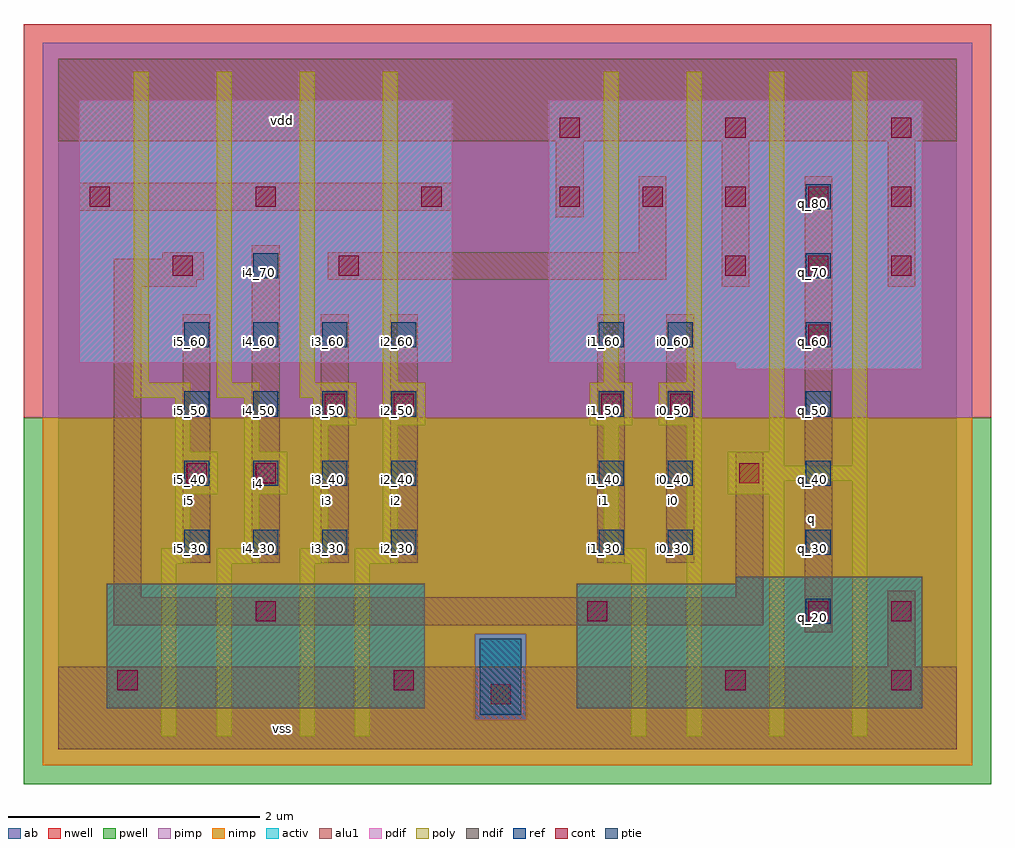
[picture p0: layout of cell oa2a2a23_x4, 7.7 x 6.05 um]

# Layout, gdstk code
import gdstk
lib = gdstk.Library(unit=1e-6, precision=2.5e-09)
def R(c, l, rs):  # rectangles x0, y0, x1, y1
    for r in rs: c.add(gdstk.rectangle(r[:2], r[2:], *l))
def A(c, l, x, y, w, h, nx, ny, dx, dy):  # array of equal rectangles
    R(c, l, [(x+i*dx, y+j*dy, x+i*dx+w, y+j*dy+h) for i in range(nx) for j in range(ny)])
ndif = (3, 0)
pdif = (4, 0)
ptie = (6, 0)
ref = (24, 0)
cont = (25, 0)
pwell = (41, 0)
nwell = (42, 0)
activ = (43, 0)
pimp = (44, 0)
nimp = (45, 0)
poly = (46, 0)
alu1 = (49, 0)
ab = (63, 0)

oa2a2a23_x4 = lib.new_cell('oa2a2a23_x4')
R(oa2a2a23_x4, ndif, [(0.385,0.33,2.915,1.32), (4.125,0.33,6.875,1.32), (5.39,1.32,6.875,1.375)])
R(oa2a2a23_x4, pdif, [(5.39,3.025,6.875,3.08), (0.165,3.08,3.135,5.17), (3.905,3.08,6.875,5.17)])
R(oa2a2a23_x4, ptie, [(3.355,0.275,3.685,0.88)])
A(oa2a2a23_x4, ref, 5.95, 1, 0.2, 0.2, 1, 7, 0, 0.55)
A(oa2a2a23_x4, ref, 1, 1.55, 0.2, 0.2, 4, 4, 0.55, 0.55)
A(oa2a2a23_x4, ref, 4.3, 1.55, 0.2, 0.2, 1, 4, 0, 0.55)
A(oa2a2a23_x4, ref, 4.85, 1.55, 0.2, 0.2, 1, 4, 0, 0.55)
R(oa2a2a23_x4, ref, [(1.55,3.75,1.75,3.95)])
A(oa2a2a23_x4, cont, 5.31, 3.77, 0.16, 0.16, 3, 1, 0.66, 0)
A(oa2a2a23_x4, cont, 0.25, 4.32, 0.16, 0.16, 3, 1, 1.32, 0)
A(oa2a2a23_x4, cont, 3.99, 4.32, 0.16, 0.16, 5, 1, 0.66, 0)
A(oa2a2a23_x4, cont, 3.99, 4.87, 0.16, 0.16, 3, 1, 1.32, 0)
R(oa2a2a23_x4, cont, [(3.44,0.36,3.6,0.52), (0.47,0.47,0.63,0.63), (2.67,0.47,2.83,0.63), (5.31,0.47,5.47,0.63), (6.63,0.47,6.79,0.63), (1.57,1.02,1.73,1.18), (4.21,1.02,4.37,1.18), (5.97,1.02,6.13,1.18), (6.63,1.02,6.79,1.18), (1.02,2.12,1.18,2.28), (1.57,2.12,1.73,2.28), (5.42,2.12,5.58,2.28), (2.12,2.67,2.28,2.83), (2.67,2.67,2.83,2.83), (4.32,2.67,4.48,2.83), (4.87,2.67,5.03,2.83), (5.97,3.22,6.13,3.38), (0.91,3.77,1.07,3.93), (2.23,3.77,2.39,3.93)])
R(oa2a2a23_x4, pwell, [(-0.275,-0.275,7.425,2.64)])
R(oa2a2a23_x4, nwell, [(-0.275,2.64,7.425,5.775)])
R(oa2a2a23_x4, activ, [(3.355,0.275,3.685,0.88), (0.385,0.33,2.915,1.32), (4.125,0.33,6.875,1.32), (5.39,1.32,6.875,1.375), (5.39,3.025,6.875,3.08), (0.165,3.08,3.135,5.17), (3.905,3.08,6.875,5.17)])
R(oa2a2a23_x4, pimp, [(3.315,0.235,3.725,0.92), (-0.125,2.64,7.275,5.625)])
R(oa2a2a23_x4, nimp, [(-0.125,-0.125,7.275,0.235), (-0.125,0.235,3.315,0.92), (3.725,0.235,7.275,0.92), (-0.125,0.92,7.275,2.64)])
A(oa2a2a23_x4, poly, 0.6, 2.92, 0.12, 2.475, 4, 1, 0.66, 0)
R(oa2a2a23_x4, poly, [(0.82,0.105,0.94,1.48), (1.26,0.105,1.38,1.48), (1.92,0.105,2.04,1.48), (2.36,0.105,2.48,1.48), (4.56,0.105,4.68,1.48), (5,0.105,5.12,2.58), (5.66,0.105,5.78,2.03), (6.32,0.105,6.44,2.14), (0.82,1.48,1.05,1.6), (1.26,1.48,1.6,1.6), (1.92,1.48,2.15,1.6), (2.36,1.48,2.7,1.6), (4.34,1.48,4.68,1.6), (0.93,1.6,1.05,2.03), (1.48,1.6,1.6,2.03), (2.03,1.6,2.15,2.58), (2.58,1.6,2.7,2.58), (4.34,1.6,4.46,2.58), (0.93,2.03,1.27,2.37), (1.48,2.03,1.82,2.37), (5.33,2.03,5.78,2.14), (5.33,2.14,6.44,2.26), (5.33,2.26,5.78,2.37), (6.32,2.26,6.44,5.395), (0.93,2.37,1.05,2.8), (1.48,2.37,1.6,2.8), (5.66,2.37,5.78,5.395), (2.03,2.58,2.37,2.8), (2.58,2.58,2.92,2.92), (4.23,2.58,4.57,2.92), (4.78,2.58,5.12,2.92), (0.6,2.8,1.05,2.92), (1.26,2.8,1.6,2.92), (1.92,2.8,2.37,2.92), (4.34,2.92,4.46,5.395), (5,2.92,5.12,5.395)])
R(oa2a2a23_x4, alu1, [(0,0,7.15,0.66), (6.6,0.66,6.82,1.265), (5.94,0.935,6.16,4.565), (0.44,0.99,5.61,1.21), (0.44,1.21,0.66,3.685), (5.39,1.21,5.61,2.365), (0.99,1.485,1.21,3.465), (1.54,1.485,1.76,4.015), (2.09,1.485,2.31,3.465), (2.64,1.485,2.86,3.465), (4.29,1.485,4.51,3.465), (4.84,1.485,5.06,3.465), (0.44,3.685,1.1,3.74), (5.28,3.685,5.5,4.84), (6.6,3.685,6.82,4.84), (0.44,3.74,1.155,3.905), (2.145,3.74,4.84,3.96), (0.825,3.905,1.155,3.96), (4.62,3.96,4.84,4.565), (3.96,4.235,4.18,4.84), (0.165,4.29,3.135,4.51), (0,4.84,7.15,5.5)])
R(oa2a2a23_x4, ab, [(0,0,7.15,5.5)])
oa2a2a23_x4.add(gdstk.Label('vss', (1.7875,0.165), layer=49, texttype=0))
oa2a2a23_x4.add(gdstk.Label('q', (5.995,1.8425), layer=49, texttype=0))
oa2a2a23_x4.add(gdstk.Label('i0', (4.895,1.98), layer=49, texttype=0))
oa2a2a23_x4.add(gdstk.Label('i1', (4.345,1.98), layer=49, texttype=0))
oa2a2a23_x4.add(gdstk.Label('i2', (2.695,1.98), layer=49, texttype=0))
oa2a2a23_x4.add(gdstk.Label('i3', (2.145,1.98), layer=49, texttype=0))
oa2a2a23_x4.add(gdstk.Label('i4', (1.595,2.1175), layer=49, texttype=0))
oa2a2a23_x4.add(gdstk.Label('i5', (1.045,1.98), layer=49, texttype=0))
oa2a2a23_x4.add(gdstk.Label('vdd', (1.7875,5.005), layer=49, texttype=0))
oa2a2a23_x4.add(gdstk.Label('i0_30', (4.9,1.6), layer=24, texttype=0))
oa2a2a23_x4.add(gdstk.Label('i0_60', (4.9,3.25), layer=24, texttype=0))
oa2a2a23_x4.add(gdstk.Label('i1_60', (4.35,3.25), layer=24, texttype=0))
oa2a2a23_x4.add(gdstk.Label('i1_50', (4.35,2.7), layer=24, texttype=0))
oa2a2a23_x4.add(gdstk.Label('i1_30', (4.35,1.6), layer=24, texttype=0))
oa2a2a23_x4.add(gdstk.Label('i1_40', (4.35,2.15), layer=24, texttype=0))
oa2a2a23_x4.add(gdstk.Label('i0_50', (4.9,2.7), layer=24, texttype=0))
oa2a2a23_x4.add(gdstk.Label('i0_40', (4.9,2.15), layer=24, texttype=0))
oa2a2a23_x4.add(gdstk.Label('q_20', (6,1.05), layer=24, texttype=0))
oa2a2a23_x4.add(gdstk.Label('q_30', (6,1.6), layer=24, texttype=0))
oa2a2a23_x4.add(gdstk.Label('q_70', (6,3.8), layer=24, texttype=0))
oa2a2a23_x4.add(gdstk.Label('q_60', (6,3.25), layer=24, texttype=0))
oa2a2a23_x4.add(gdstk.Label('q_50', (6,2.7), layer=24, texttype=0))
oa2a2a23_x4.add(gdstk.Label('q_40', (6,2.15), layer=24, texttype=0))
oa2a2a23_x4.add(gdstk.Label('i4_70', (1.6,3.8), layer=24, texttype=0))
oa2a2a23_x4.add(gdstk.Label('i4_60', (1.6,3.25), layer=24, texttype=0))
oa2a2a23_x4.add(gdstk.Label('i4_50', (1.6,2.7), layer=24, texttype=0))
oa2a2a23_x4.add(gdstk.Label('i4_40', (1.6,2.15), layer=24, texttype=0))
oa2a2a23_x4.add(gdstk.Label('i4_30', (1.6,1.6), layer=24, texttype=0))
oa2a2a23_x4.add(gdstk.Label('i3_40', (2.15,2.15), layer=24, texttype=0))
oa2a2a23_x4.add(gdstk.Label('i2_60', (2.7,3.25), layer=24, texttype=0))
oa2a2a23_x4.add(gdstk.Label('i2_50', (2.7,2.7), layer=24, texttype=0))
oa2a2a23_x4.add(gdstk.Label('i2_40', (2.7,2.15), layer=24, texttype=0))
oa2a2a23_x4.add(gdstk.Label('i2_30', (2.7,1.6), layer=24, texttype=0))
oa2a2a23_x4.add(gdstk.Label('i3_60', (2.15,3.25), layer=24, texttype=0))
oa2a2a23_x4.add(gdstk.Label('i3_50', (2.15,2.7), layer=24, texttype=0))
oa2a2a23_x4.add(gdstk.Label('i3_30', (2.15,1.6), layer=24, texttype=0))
oa2a2a23_x4.add(gdstk.Label('i5_30', (1.05,1.6), layer=24, texttype=0))
oa2a2a23_x4.add(gdstk.Label('i5_60', (1.05,3.25), layer=24, texttype=0))
oa2a2a23_x4.add(gdstk.Label('i5_50', (1.05,2.7), layer=24, texttype=0))
oa2a2a23_x4.add(gdstk.Label('i5_40', (1.05,2.15), layer=24, texttype=0))
oa2a2a23_x4.add(gdstk.Label('q_80', (6,4.35), layer=24, texttype=0))

lib.write_gds('oa2a2a23_x4.gds')
